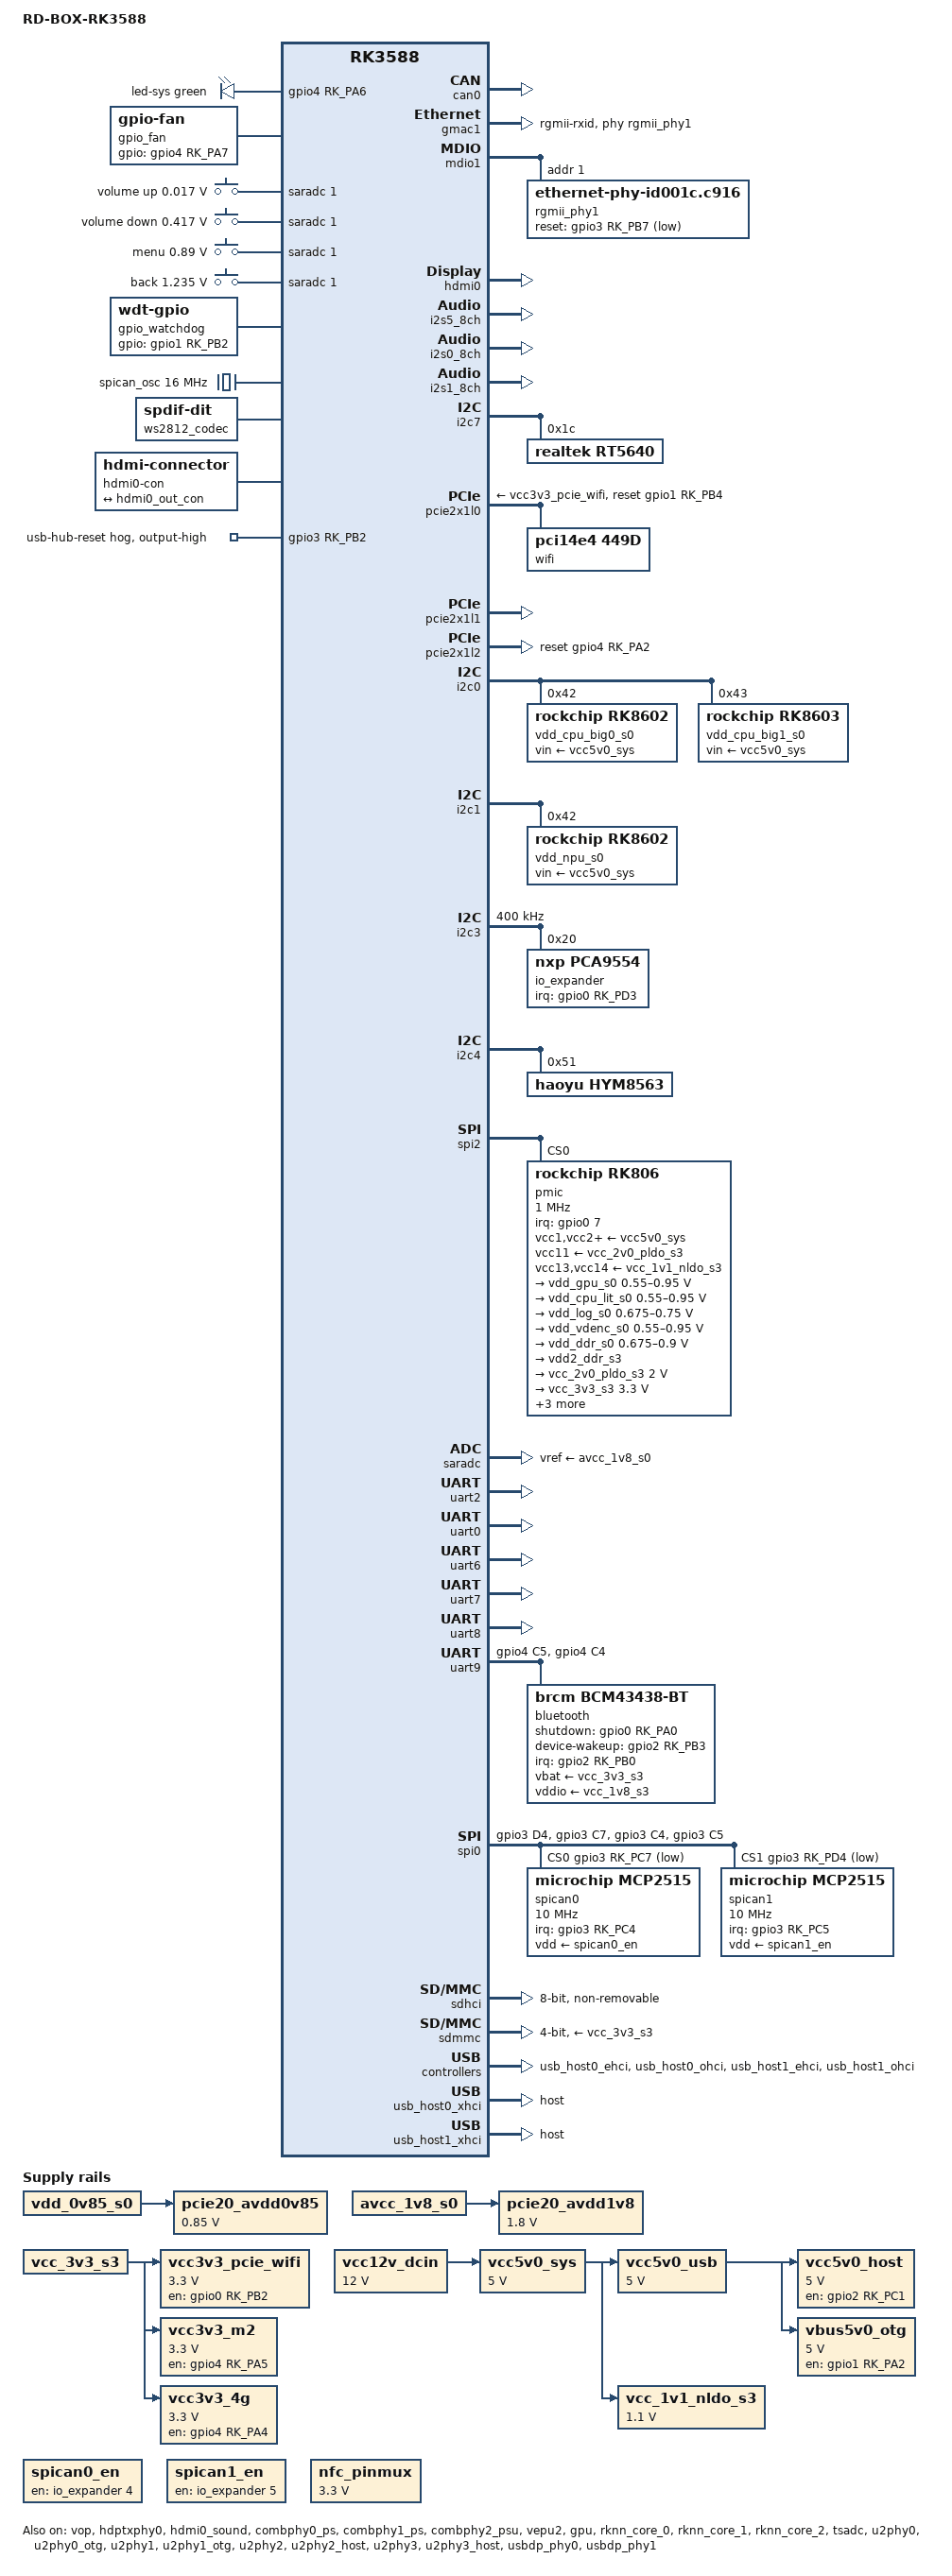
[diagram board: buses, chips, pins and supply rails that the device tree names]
// SPDX-License-Identifier: (GPL-2.0+ OR MIT)
/*
 * Copyright (c) 2024 Synkar
 *
 * RD-BOX-RK3588 board DTS (mainline bindings).
 *
 * Ported from the vendor SDK DTS (kernel 6.1 fork) to mainline bindings.
 * References: rk3588-rock-5b.dtsi (same rk3588 SoC + rk806 PMIC on spi2),
 *   rp-rk3588-board.dtsi + rd-box-rk3588.dts from the SDK.
 *
 * Vendor -> mainline mapping:
 *   rp_power.led/usb/otg/hub/4g  -> gpio-leds / fixed-regulator / gpio-hog
 *   fan_gpio_control             -> gpio-fan
 *   stm706 (watchdog)            -> linux,wdt-gpio
 *   rp-keys                      -> adc-keys
 *   wireless-wlan/bt (platdata)  -> PCIe enumeration (brcmfmac) / brcm bluetooth
 *
 * TODO phase 4 (hardware validation):
 *   - power/reset GPIO polarities (usb-host, otg, hub, 4g)
 *   - BT bring-up: hci_bcm probe + BCM4362A2.hcd firmware load + HCI up
 *     (binding fixed: compatible brcm,bcm43438-bt + hym8563 lpo clock +
 *      CONFIG_BT_HCIUART_BCM; still needs HW validation)
 *   - real WAN bring-up of synkar-netrole (DHCP uplink + masquerade)
 *   - HDMI audio (hdmi0_sound: deferred probe of asoc-simple-card)
 *
 * Done: CAN0 (rockchip_canfd bind + can0 UP at 500 kbps; see the can0 node).
 */

/dts-v1/;

#include <dt-bindings/gpio/gpio.h>
#include <dt-bindings/input/input.h>
#include <dt-bindings/leds/common.h>
#include <dt-bindings/pinctrl/rockchip.h>
#include <dt-bindings/soc/rockchip,vop2.h>

#include "rk3588.dtsi"

/ {
	model = "RD-BOX-RK3588";
	compatible = "rd-box,rk3588", "rockchip,rk3588";

	aliases {
		mmc0 = &sdhci;
		mmc1 = &sdmmc;
	};

	npu_opp_table: opp-table-npu {
		compatible = "operating-points-v2";

		opp-300000000 {
			opp-hz = /bits/ 64 <300000000>;
			opp-microvolt = <700000>;
		};
		opp-400000000 {
			opp-hz = /bits/ 64 <400000000>;
			opp-microvolt = <700000>;
		};
		opp-500000000 {
			opp-hz = /bits/ 64 <500000000>;
			opp-microvolt = <700000>;
		};
		opp-600000000 {
			opp-hz = /bits/ 64 <600000000>;
			opp-microvolt = <700000>;
		};
		opp-700000000 {
			opp-hz = /bits/ 64 <700000000>;
			opp-microvolt = <700000>;
		};
		opp-800000000 {
			opp-hz = /bits/ 64 <800000000>;
			opp-microvolt = <750000>;
		};
		opp-900000000 {
			opp-hz = /bits/ 64 <900000000>;
			opp-microvolt = <800000>;
		};
		opp-1000000000 {
			opp-hz = /bits/ 64 <1000000000>;
			opp-microvolt = <850000>;
		};
	};

	vcc12v_dcin: regulator-vcc12v-dcin {
		compatible = "regulator-fixed";
		regulator-name = "vcc12v_dcin";
		regulator-always-on;
		regulator-boot-on;
		regulator-min-microvolt = <12000000>;
		regulator-max-microvolt = <12000000>;
	};

	vcc5v0_sys: regulator-vcc5v0-sys {
		compatible = "regulator-fixed";
		regulator-name = "vcc5v0_sys";
		regulator-always-on;
		regulator-boot-on;
		regulator-min-microvolt = <5000000>;
		regulator-max-microvolt = <5000000>;
		vin-supply = <&vcc12v_dcin>;
	};

	vcc5v0_usb: regulator-vcc5v0-usb {
		compatible = "regulator-fixed";
		regulator-name = "vcc5v0_usb";
		regulator-always-on;
		regulator-boot-on;
		regulator-min-microvolt = <5000000>;
		regulator-max-microvolt = <5000000>;
		vin-supply = <&vcc5v0_sys>;
	};

	vcc_1v1_nldo_s3: regulator-vcc-1v1-nldo-s3 {
		compatible = "regulator-fixed";
		regulator-name = "vcc_1v1_nldo_s3";
		regulator-always-on;
		regulator-boot-on;
		regulator-min-microvolt = <1100000>;
		regulator-max-microvolt = <1100000>;
		vin-supply = <&vcc5v0_sys>;
	};

	/* rp_power.led -> gpio4 PA6 (vendor function=3 FLASH/heartbeat) */
	leds {
		compatible = "gpio-leds";
		pinctrl-names = "default";
		pinctrl-0 = <&led_sys>;

		led-sys {
			function = LED_FUNCTION_HEARTBEAT;
			color = <LED_COLOR_ID_GREEN>;
			gpios = <&gpio4 RK_PA6 GPIO_ACTIVE_HIGH>;
			linux,default-trigger = "heartbeat";
		};
	};

	/* fan_gpio_control -> gpio4 PA7, threshold 60C (vendor) */
	gpio_fan: gpio-fan {
		compatible = "gpio-fan";
		gpios = <&gpio4 RK_PA7 GPIO_ACTIVE_HIGH>;
		gpio-fan,speed-map = <0 0 3000 1>;
		pinctrl-names = "default";
		pinctrl-0 = <&fan_en>;
		#cooling-cells = <2>;
	};

	/* rp-key.dtsi -> adc-keys (saradc channel 1) */
	adc_keys: adc-keys {
		compatible = "adc-keys";
		io-channels = <&saradc 1>;
		io-channel-names = "buttons";
		keyup-threshold-microvolt = <1800000>;
		poll-interval = <100>;

		button-vol-up {
			label = "volume up";
			linux,code = <KEY_VOLUMEUP>;
			press-threshold-microvolt = <17000>;
		};

		button-vol-down {
			label = "volume down";
			linux,code = <KEY_VOLUMEDOWN>;
			press-threshold-microvolt = <417000>;
		};

		button-menu {
			label = "menu";
			linux,code = <KEY_MENU>;
			press-threshold-microvolt = <890000>;
		};

		button-back {
			label = "back";
			linux,code = <KEY_BACK>;
			press-threshold-microvolt = <1235000>;
		};
	};

	/* stm706 -> external GPIO watchdog. wdt_gpio = gpio1 PB2 (feed/keepalive).
	 * reset_gpio = gpio1 PB1 is the IC's hardwired reset output (not driven). */
	gpio_watchdog: watchdog {
		compatible = "linux,wdt-gpio";
		gpios = <&gpio1 RK_PB2 GPIO_ACTIVE_HIGH>;
		hw_algo = "toggle";
		hw_margin_ms = <1500>;
		always-running;
		pinctrl-names = "default";
		pinctrl-0 = <&wdt_feed>;
	};

	/* rp-eth-pcie2gmac: pcie2x1l2 -> NIC Realtek (r8169), power rails */
	pcie20_avdd0v85: regulator-pcie20-avdd0v85 {
		compatible = "regulator-fixed";
		regulator-name = "pcie20_avdd0v85";
		regulator-boot-on;
		regulator-always-on;
		regulator-min-microvolt = <850000>;
		regulator-max-microvolt = <850000>;
		vin-supply = <&vdd_0v85_s0>;
	};

	pcie20_avdd1v8: regulator-pcie20-avdd1v8 {
		compatible = "regulator-fixed";
		regulator-name = "pcie20_avdd1v8";
		regulator-boot-on;
		regulator-always-on;
		regulator-min-microvolt = <1800000>;
		regulator-max-microvolt = <1800000>;
		vin-supply = <&avcc_1v8_s0>;
	};

	/* rp-wifi-bt-pcie-ap6275p: WiFi module vcc3v3, enable gpio0 PB2 */
	vcc3v3_pcie_wifi: regulator-vcc3v3-pcie-wifi {
		compatible = "regulator-fixed";
		regulator-name = "vcc3v3_pcie_wifi";
		regulator-min-microvolt = <3300000>;
		regulator-max-microvolt = <3300000>;
		enable-active-high;
		gpio = <&gpio0 RK_PB2 GPIO_ACTIVE_HIGH>;
		pinctrl-names = "default";
		pinctrl-0 = <&wifi_poweren>;
		startup-delay-us = <5000>;
		vin-supply = <&vcc_3v3_s3>;
	};

	/* rp-pcie2x1l1-m2: M.2 slot vcc3v3, enable gpio4 PA5 (RD_BOX_RK3588) */
	vcc3v3_m2: regulator-vcc3v3-m2 {
		compatible = "regulator-fixed";
		regulator-name = "vcc3v3_m2";
		regulator-always-on;
		regulator-boot-on;
		regulator-min-microvolt = <3300000>;
		regulator-max-microvolt = <3300000>;
		enable-active-high;
		gpio = <&gpio4 RK_PA5 GPIO_ACTIVE_HIGH>;
		pinctrl-names = "default";
		pinctrl-0 = <&m2_poweren>;
		startup-delay-us = <5000>;
		vin-supply = <&vcc_3v3_s3>;
	};

	/* rp_power: usb-host-power gpio2 PC1 */
	vcc5v0_host: regulator-vcc5v0-host {
		compatible = "regulator-fixed";
		regulator-name = "vcc5v0_host";
		regulator-min-microvolt = <5000000>;
		regulator-max-microvolt = <5000000>;
		enable-active-high;
		gpio = <&gpio2 RK_PC1 GPIO_ACTIVE_HIGH>;
		pinctrl-names = "default";
		pinctrl-0 = <&host5v_en>;
		vin-supply = <&vcc5v0_usb>;
	};

	/* rp_power: otg-power gpio1 PA2. always-on: no node consumes VBUS;
	 * without it the regulator stays disabled (dead port). */
	vbus5v0_otg: regulator-vbus5v0-otg {
		compatible = "regulator-fixed";
		regulator-name = "vbus5v0_otg";
		regulator-always-on;
		regulator-boot-on;
		regulator-min-microvolt = <5000000>;
		regulator-max-microvolt = <5000000>;
		enable-active-high;
		gpio = <&gpio1 RK_PA2 GPIO_ACTIVE_HIGH>;
		pinctrl-names = "default";
		pinctrl-0 = <&otg5v_en>;
		vin-supply = <&vcc5v0_usb>;
	};

	/* rp_power: pwr-4g gpio4 PA4 */
	vcc3v3_4g: regulator-vcc3v3-4g {
		compatible = "regulator-fixed";
		regulator-name = "vcc3v3_4g";
		regulator-always-on;
		regulator-boot-on;
		regulator-min-microvolt = <3300000>;
		regulator-max-microvolt = <3300000>;
		enable-active-high;
		gpio = <&gpio4 RK_PA4 GPIO_ACTIVE_HIGH>;
		pinctrl-names = "default";
		pinctrl-0 = <&modem4g_en>;
		startup-delay-us = <10000>;
		vin-supply = <&vcc_3v3_s3>;
	};

	/*
	 * CAN0/CAN1: the rk3588 CAN IP matches rk3568v2. The can0/can1 nodes
	 * do NOT exist in mainline rk3588-base.dtsi (only the can0m0/can1m0
	 * pinctrl exists in rk3588-base-pinctrl.dtsi), so the full nodes are
	 * defined here. Driver: rockchip_canfd (CONFIG_CAN_ROCKCHIP_CANFD) ->
	 * compatible "rockchip,rk3568v2-canfd" (mainline has no rk3588
	 * compatible; the vendor used out-of-tree "rockchip,can-2.0" on BSP 6.1).
	 *
	 * interrupts: mainline rk3588 GICv3 is 4-cell (#interrupt-cells = <4>
	 * in rk3588-base.dtsi), inherited from the root. The 4th cell is the
	 * partition/PPI mask (0 for SPI). Do not use the vendor 3-cell GIC
	 * form, or the DT parser fails and platform_get_irq() returns -ENXIO
	 * ("IRQ index 0 not found") — historical CAN0 bring-up bug.
	 *
	 * CAN1 stays DISABLED: can1m0 (gpio3 RK_PB5 = can1_rx_m0) is the SAME
	 * pin as gmac1_txen (eth0 RGMII), required for the primary Ethernet.
	 * The vendor does not enable can1 on this board either. A second CAN
	 * on the hardware would need the can1m1 mux plus a schematic check.
	 */
	can0: can@fea50000 {
		compatible = "rockchip,rk3568v2-canfd";
		reg = <0x0 0xfea50000 0x0 0x1000>;
		interrupts = <GIC_SPI 341 IRQ_TYPE_LEVEL_HIGH 0>;
		clocks = <&cru CLK_CAN0>, <&cru PCLK_CAN0>;
		clock-names = "baudclk", "apb_pclk";
		resets = <&cru SRST_CAN0>, <&cru SRST_P_CAN0>;
		reset-names = "can", "can-apb";
		assigned-clocks = <&cru CLK_CAN0>;
		assigned-clock-rates = <300000000>;
		pinctrl-names = "default";
		pinctrl-0 = <&can0m0_pins>;
		status = "okay";
	};

	can1: can@fea60000 {
		compatible = "rockchip,rk3568v2-canfd";
		reg = <0x0 0xfea60000 0x0 0x1000>;
		interrupts = <GIC_SPI 342 IRQ_TYPE_LEVEL_HIGH 0>;
		clocks = <&cru CLK_CAN1>, <&cru PCLK_CAN1>;
		clock-names = "baudclk", "apb_pclk";
		resets = <&cru SRST_CAN1>, <&cru SRST_P_CAN1>;
		reset-names = "can", "can-apb";
		assigned-clocks = <&cru CLK_CAN1>;
		assigned-clock-rates = <200000000>;
		pinctrl-names = "default";
		pinctrl-0 = <&can1m0_pins>;
		/* can1m0 conflicts with gmac1_txen (gpio3 RK_PB5); see the comment above. */
		status = "disabled";
	};

	/* One 16 MHz crystal per MCP2515. Both nodes use this rate for bit timing. */
	spican_osc: spican_osc {
		compatible = "fixed-clock";
		#clock-cells = <0>;
		clock-frequency = <16000000>;
	};

	/* CAN1_SPI_RESET and CAN2_SPI_RESET are the MCP2515 nRESET pins
	 * (active low): expander IO4/IO5 here, each on its own module.
	 * regulator-fixed asserts its GPIO on enable, so enable = pin high
	 * = reset released requires GPIO_ACTIVE_HIGH + enable-active-high.
	 * With the previous ACTIVE_LOW polarity, enabling vdd drove nRESET
	 * low and held the chip in reset during probe ("didn't enter in
	 * conf mode"). At registration the pin drives low, keeping both
	 * chips in reset until mcp251x probes. startup-delay-us covers
	 * oscillator start after the reset release. */
	spican0_en: regulator-spican0-en {
		compatible = "regulator-fixed";
		regulator-name = "spican0-enable";
		gpio = <&io_expander 4 GPIO_ACTIVE_HIGH>;
		enable-active-high;
		startup-delay-us = <100000>;
	};

	spican1_en: regulator-spican1-en {
		compatible = "regulator-fixed";
		regulator-name = "spican1-enable";
		gpio = <&io_expander 5 GPIO_ACTIVE_HIGH>;
		enable-active-high;
		startup-delay-us = <100000>;
	};

};

&cpu_b0 {
	cpu-supply = <&vdd_cpu_big0_s0>;
};

&cpu_b1 {
	cpu-supply = <&vdd_cpu_big0_s0>;
};

&cpu_b2 {
	cpu-supply = <&vdd_cpu_big1_s0>;
};

&cpu_b3 {
	cpu-supply = <&vdd_cpu_big1_s0>;
};

&cpu_l0 {
	cpu-supply = <&vdd_cpu_lit_s0>;
};

&cpu_l1 {
	cpu-supply = <&vdd_cpu_lit_s0>;
};

&cpu_l2 {
	cpu-supply = <&vdd_cpu_lit_s0>;
};

&cpu_l3 {
	cpu-supply = <&vdd_cpu_lit_s0>;
};

/* Primary Ethernet: gmac1 RGMII (rp-eth-gmac1.dtsi). Timing kept from the vendor
 * (rgmii-rxid, clock input, tx_delay). Reset moved to the phy node (mainline).
 *
 * The eth1_pins group (eth1_refclko_25m, gpio3 PA6) is required: it routes the
 * 25 MHz clock generated by the CRU (REFCLKO25M_ETH1_OUT) to the RTL8211F PHY
 * XTAL pin. Without it the PHY has no clock and does not answer on MDIO,
 * producing "cannot attach to PHY (-ENODEV)". The vendor names this group
 * "eth1_pins". */
&gmac1 {
	phy-mode = "rgmii-rxid";
	clock_in_out = "input";
	tx_delay = <0x44>;

	pinctrl-names = "default";
	pinctrl-0 = <&gmac1_miim
		     &gmac1_tx_bus2
		     &gmac1_rx_bus2
		     &gmac1_rgmii_clk
		     &gmac1_rgmii_bus
		     &gmac1_clkinout
		     &eth1_pins>;

	phy-handle = <&rgmii_phy1>;
	status = "okay";
};

&mdio1 {
	/* RTL8211F (vendor: reset gpio3 PB7, 20 ms assert / 100 ms deassert).
	 * The PHY 25 MHz refclk comes from the CRU (REFCLKO25M_ETH1_OUT), routed
	 * to the PHY XTAL pin by eth1_pins/eth1_refclko_25m (gpio3 PA6) on &gmac1.
	 *
	 * compatible "ethernet-phy-id001c.c916" (RTL8211F PHY ID) makes phylib
	 * create the device WITHOUT a premature MDIO read. With the generic
	 * "ethernet-phy-ieee802.3-c22", phylib tries to read the ID BEFORE applying
	 * reset-gpios; the PHY is still in reset, the read fails (-ENODEV), and the
	 * device is never created (reset-gpios stays "UNCLAIMED"). Same pattern as
	 * rk3588-evb1-v10.dts for this RTL8211F. */
	rgmii_phy1: ethernet-phy@1 {
		compatible = "ethernet-phy-id001c.c916";
		reg = <0x1>;
		clocks = <&cru REFCLKO25M_ETH1_OUT>;
		reset-gpios = <&gpio3 RK_PB7 GPIO_ACTIVE_LOW>;
		reset-assert-us = <20000>;
		reset-deassert-us = <100000>;
	};
};

/* ===== HDMI0 (display + audio) ============================================
 * Ported from rk3588-evb1-v10.dts (mainline bindings). Differences vs the
 * vendor SDK: the PHY label is &hdptxphy0 (not &hdptxphy_hdmi0) and
 * &route_hdmi0 (vendor-specific) was dropped — mainline describes the pipeline
 * via the OF graph. dw-hdmi-qp takes the PHY by phandle (phys = <&hdptxphy0>)
 * in the base dtsi.
 */
&vop {
	status = "okay";
};

&vop_mmu {
	status = "okay";
};

&hdmi0 {
	status = "okay";
};

&hdmi0_in {
	hdmi0_in_vp0: endpoint {
		remote-endpoint = <&vp0_out_hdmi0>;
	};
};

&hdmi0_out {
	hdmi0_out_con: endpoint {
		remote-endpoint = <&hdmi0_con_in>;
	};
};

&vp0 {
	vp0_out_hdmi0: endpoint@ROCKCHIP_VOP2_EP_HDMI0 {
		reg = <ROCKCHIP_VOP2_EP_HDMI0>;
		remote-endpoint = <&hdmi0_in_vp0>;
	};
};

&hdptxphy0 {
	status = "okay";
};

/* HDMI audio: simple-audio-card (cpu = i2s5_8ch -> codec = hdmi0).
 * The hdmi0_sound node is already wired in rk3588-base.dtsi; only enable it. */
&i2s5_8ch {
	status = "okay";
};

&hdmi0_sound {
	status = "okay";
};

&i2s0_8ch {
	pinctrl-0 = <&i2s0_lrck
		     &i2s0_mclk
		     &i2s0_sclk
		     &i2s0_sdi0
		     &i2s0_sdo0>;
	status = "okay";
};

/* WS2812 on GPIO4_B3 (VCCIO6 3V3), using function I2S1_SDO2_M0 as per the RD-BOX PDF.
 * The default pinctrl for i2s1_8ch also includes PA2, PA5, PA6, PA7, and PB2
 * (PCIe reset, M.2 enable, LED, fan, and NFC RX), but only SDO2 is used here.
 * The stereo pair (data0) is routed to SDO2. Without trcm-sync-tx-only, 
 * starting does not reset the block, so the route remains. The spdif-dit codec
 * is virtual: it just creates the PCM hw:ws2812 for the I2S master. */
&i2s1_8ch {
	/delete-property/ rockchip,trcm-sync-tx-only;
	pinctrl-names = "default";
	pinctrl-0 = <&i2s1m0_sdo2>;
	assigned-clocks = <&cru CLK_I2S1_8CH_TX_SRC>;
	assigned-clock-parents = <&cru PLL_AUPLL>;
	rockchip,i2s-tx-route = <1 2 0 3>;
	status = "okay";
};

/ {
	ws2812_codec: ws2812-codec {
		compatible = "linux,spdif-dit";
		#sound-dai-cells = <0>;
	};

	ws2812-sound {
		compatible = "simple-audio-card";
		simple-audio-card,name = "ws2812";
		simple-audio-card,format = "i2s";
		simple-audio-card,mclk-fs = <256>;
		simple-audio-card,bitclock-master = <&ws2812_cpu>;
		simple-audio-card,frame-master = <&ws2812_cpu>;

		ws2812_cpu: simple-audio-card,cpu {
			sound-dai = <&i2s1_8ch>;
		};

		simple-audio-card,codec {
			sound-dai = <&ws2812_codec>;
		};
	};
};

&i2c7 {
	pinctrl-names = "default";
	pinctrl-0 = <&i2c7m0_xfer>;
	status = "okay";

	rt5640: audio-codec@1c {
		compatible = "realtek,rt5640";
		reg = <0x1c>;
		clocks = <&cru I2S0_8CH_MCLKOUT>;
		clock-names = "mclk";
		assigned-clocks = <&cru I2S0_8CH_MCLKOUT>;
		assigned-clock-rates = <12288000>;
		realtek,in1-differential;
		#sound-dai-cells = <0>;
	};
};

/ {
	hdmi0-con {
		compatible = "hdmi-connector";
		type = "a";	/* Type A: full-size HDMI */
		port {
			hdmi0_con_in: endpoint {
				remote-endpoint = <&hdmi0_out_con>;
			};
		};
	};

	rt5640-sound {
		compatible = "simple-audio-card";
		simple-audio-card,name = "RK3588 RD-BOX Headset";
		simple-audio-card,format = "i2s";
		simple-audio-card,mclk-fs = <256>;
		simple-audio-card,widgets =
			"Microphone", "Mic Jack",
			"Headphone", "Headphone Jack";
		simple-audio-card,routing =
			"Mic Jack", "MICBIAS1",
			"IN1P", "Mic Jack",
			"Headphone Jack", "HPOL",
			"Headphone Jack", "HPOR";

		simple-audio-card,cpu {
			sound-dai = <&i2s0_8ch>;
		};

		simple-audio-card,codec {
			sound-dai = <&rt5640>;
			system-clock-frequency = <12288000>;
		};
	};
};

/* Combophy for the 3 PCIe slots */
&combphy0_ps {
	status = "okay";
};

&combphy1_ps {
	status = "okay";
};

&combphy2_psu {
	status = "okay";
};

&av1d { status = "disabled"; };
&vpu121 { status = "disabled"; };
&vepu2 { status = "okay"; };

&gpu {
	mali-supply = <&vdd_gpu_s0>;
	status = "okay";
};

&rknn_core_0 {
	npu-supply = <&vdd_npu_s0>;
	sram-supply = <&vdd_npu_s0>;
	operating-points-v2 = <&npu_opp_table>;
	status = "okay";
};

&rknn_core_1 {
	npu-supply = <&vdd_npu_s0>;
	sram-supply = <&vdd_npu_s0>;
	operating-points-v2 = <&npu_opp_table>;
	status = "okay";
};

&rknn_core_2 {
	npu-supply = <&vdd_npu_s0>;
	sram-supply = <&vdd_npu_s0>;
	operating-points-v2 = <&npu_opp_table>;
	status = "okay";
};

&rknn_mmu_0 { status = "okay"; };
&rknn_mmu_1 { status = "okay"; };
&rknn_mmu_2 { status = "okay"; };


/* pcie2x1l0: WiFi ap6275p (rp-wifi-bt-pcie-ap6275p)
 * The BCM43752 (AP6275P) needs the 32.768 kHz LPO clock for the firmware to
 * start (without it the ARM is released but the firmware never writes the
 * shared-RAM sentinel -> "FW failed to initialize"). Mainline brcmfmac gets
 * that clock from DT, on the PCI device node, by the name "lpo"
 * (brcmf_of_probe -> devm_clk_get...("lpo")).
 * Same binding as armsom-sige7 (AP6275P + RK3588 + hym8563, working WiFi).
 * Observed BDF: root port 0002:20:00.0 (bus 0x20), wifi 0002:21:00.0 (bus 0x21).
 */
&pcie2x1l0 {
	reset-gpios = <&gpio1 RK_PB4 GPIO_ACTIVE_HIGH>;
	vpcie3v3-supply = <&vcc3v3_pcie_wifi>;
	status = "okay";

	pcie@0,0 {
		reg = <0x200000 0 0 0 0>;
		#address-cells = <3>;
		#size-cells = <2>;
		ranges;
		device_type = "pci";
		bus-range = <0x20 0x2f>;

		wifi: wifi@0,0 {
			compatible = "pci14e4,449d";
			reg = <0x210000 0 0 0 0>;
			clocks = <&hym8563>;
			clock-names = "lpo";
		};
	};
};

/* pcie2x1l1: slot M.2 (rp-pcie2x1l1-m2) */
&pcie2x1l1 {
	status = "okay";
};

/* pcie2x1l2: NIC Realtek 2.5G (rp-eth-pcie2gmac) -> driver r8169 */
&pcie2x1l2 {
	reset-gpios = <&gpio4 RK_PA2 GPIO_ACTIVE_HIGH>;
	status = "okay";
};

&i2c0 {
	pinctrl-names = "default";
	pinctrl-0 = <&i2c0m2_xfer>;
	status = "okay";

	vdd_cpu_big0_s0: regulator@42 {
		compatible = "rockchip,rk8602";
		reg = <0x42>;
		fcs,suspend-voltage-selector = <1>;
		regulator-name = "vdd_cpu_big0_s0";
		regulator-always-on;
		regulator-boot-on;
		regulator-min-microvolt = <550000>;
		regulator-max-microvolt = <1050000>;
		regulator-ramp-delay = <2300>;
		vin-supply = <&vcc5v0_sys>;

		regulator-state-mem {
			regulator-off-in-suspend;
		};
	};

	vdd_cpu_big1_s0: regulator@43 {
		compatible = "rockchip,rk8603", "rockchip,rk8602";
		reg = <0x43>;
		fcs,suspend-voltage-selector = <1>;
		regulator-name = "vdd_cpu_big1_s0";
		regulator-always-on;
		regulator-boot-on;
		regulator-min-microvolt = <550000>;
		regulator-max-microvolt = <1050000>;
		regulator-ramp-delay = <2300>;
		vin-supply = <&vcc5v0_sys>;

		regulator-state-mem {
			regulator-off-in-suspend;
		};
	};
};

&i2c1 {
	pinctrl-names = "default";
	pinctrl-0 = <&i2c1m2_xfer>;
	status = "okay";

	vdd_npu_s0: regulator@42 {
		compatible = "rockchip,rk8602";
		reg = <0x42>;
		fcs,suspend-voltage-selector = <1>;
		regulator-name = "vdd_npu_s0";
		regulator-boot-on;
		regulator-min-microvolt = <550000>;
		regulator-max-microvolt = <950000>;
		regulator-ramp-delay = <2300>;
		vin-supply = <&vcc5v0_sys>;

		regulator-state-mem {
			regulator-off-in-suspend;
		};
	};
};

/* i2c3, 400 kHz. Two devices share the bus:
 *   PCA9554 at 0x20 (A2:A0 tied low). INT is GPIO0_D3, open-drain,
 *   level-low. IO0..IO7 are push-pull outputs.
 *   BNO080 in userspace at the secondary address 0x4B. It cannot share
 *   0x20. I2C_IMU_nRESET (IO3) stays free: bno080 drives it, including
 *   holding the part in reset while the node is disabled.
 * CAN1_SPI_RESET and CAN2_SPI_RESET are the active-low RESET# lines of
 * spican0 and spican1.
 * ToF, lidar, IMU-CAN, LED and NFC power are not referenced by a
 * device-tree node, so those lines stay free for userspace. */
&i2c3 {
	pinctrl-names = "default";
	pinctrl-0 = <&i2c3m0_xfer>;
	clock-frequency = <400000>;
	status = "okay";

	io_expander: gpio@20 {
		compatible = "nxp,pca9554";
		reg = <0x20>;
		gpio-controller;
		#gpio-cells = <2>;
		interrupt-parent = <&gpio0>;
		interrupts = <RK_PD3 IRQ_TYPE_LEVEL_LOW>;
		interrupt-controller;
		#interrupt-cells = <2>;
		pinctrl-names = "default";
		pinctrl-0 = <&io_exp_int>;
		/* IO4/IO5 belong to spican0/spican1. Every other line is free
		 * for userspace, including I2C_IMU_nRESET. */
		gpio-line-names = "ToF_PWR-On-Off",
				  "LIDAR_PWR-On-Off",
				  "IMU_CAN_PWR-On-Off",
				  "I2C_IMU_nRESET",
				  "CAN1_SPI_RESET",
				  "CAN2_SPI_RESET",
				  "LED_PWR-On-Off",
				  "NFC_PWR-On-Off";
	};
};

/* hym8563 RTC on i2c4 (rd-box-rk3588.dts) */
&i2c4 {
	pinctrl-names = "default";
	pinctrl-0 = <&i2c4m1_xfer>;
	status = "okay";

	hym8563: rtc@51 {
		compatible = "haoyu,hym8563";
		reg = <0x51>;
		#clock-cells = <0>;
		clock-output-names = "hym8563";
	};
};

/* rk806 PMIC on spi2 (same topology as rk3588-rock-5b) */
&spi2 {
	pinctrl-names = "default";
	pinctrl-0 = <&spi2m2_cs0 &spi2m2_pins>;
	status = "okay";

	pmic@0 {
		compatible = "rockchip,rk806";
		spi-max-frequency = <1000000>;
		reg = <0x0>;

		interrupt-parent = <&gpio0>;
		interrupts = <7 IRQ_TYPE_LEVEL_LOW>;

		pinctrl-names = "default";
		pinctrl-0 = <&pmic_pins>, <&rk806_dvs1_null>,
			    <&rk806_dvs2_null>, <&rk806_dvs3_null>;

		system-power-controller;

		vcc1-supply = <&vcc5v0_sys>;
		vcc2-supply = <&vcc5v0_sys>;
		vcc3-supply = <&vcc5v0_sys>;
		vcc4-supply = <&vcc5v0_sys>;
		vcc5-supply = <&vcc5v0_sys>;
		vcc6-supply = <&vcc5v0_sys>;
		vcc7-supply = <&vcc5v0_sys>;
		vcc8-supply = <&vcc5v0_sys>;
		vcc9-supply = <&vcc5v0_sys>;
		vcc10-supply = <&vcc5v0_sys>;
		vcc11-supply = <&vcc_2v0_pldo_s3>;
		vcc12-supply = <&vcc5v0_sys>;
		vcc13-supply = <&vcc_1v1_nldo_s3>;
		vcc14-supply = <&vcc_1v1_nldo_s3>;
		vcca-supply = <&vcc5v0_sys>;

		gpio-controller;
		#gpio-cells = <2>;

		rk806_dvs1_null: dvs1-null-pins {
			pins = "gpio_pwrctrl1";
			function = "pin_fun0";
		};

		rk806_dvs2_null: dvs2-null-pins {
			pins = "gpio_pwrctrl2";
			function = "pin_fun0";
		};

		rk806_dvs3_null: dvs3-null-pins {
			pins = "gpio_pwrctrl3";
			function = "pin_fun0";
		};

		regulators {
			vdd_gpu_s0: dcdc-reg1 {
				regulator-boot-on;
				regulator-min-microvolt = <550000>;
				regulator-max-microvolt = <950000>;
				regulator-ramp-delay = <12500>;
				regulator-name = "vdd_gpu_s0";
				regulator-enable-ramp-delay = <400>;

				regulator-state-mem {
					regulator-off-in-suspend;
				};
			};

			vdd_cpu_lit_s0: dcdc-reg2 {
				regulator-always-on;
				regulator-boot-on;
				regulator-min-microvolt = <550000>;
				regulator-max-microvolt = <950000>;
				regulator-ramp-delay = <12500>;
				regulator-name = "vdd_cpu_lit_s0";

				regulator-state-mem {
					regulator-off-in-suspend;
				};
			};

			vdd_log_s0: dcdc-reg3 {
				regulator-always-on;
				regulator-boot-on;
				regulator-min-microvolt = <675000>;
				regulator-max-microvolt = <750000>;
				regulator-ramp-delay = <12500>;
				regulator-name = "vdd_log_s0";

				regulator-state-mem {
					regulator-off-in-suspend;
					regulator-suspend-microvolt = <750000>;
				};
			};

			vdd_vdenc_s0: dcdc-reg4 {
				regulator-always-on;
				regulator-boot-on;
				regulator-min-microvolt = <550000>;
				regulator-max-microvolt = <950000>;
				regulator-ramp-delay = <12500>;
				regulator-name = "vdd_vdenc_s0";

				regulator-state-mem {
					regulator-off-in-suspend;
				};
			};

			vdd_ddr_s0: dcdc-reg5 {
				regulator-always-on;
				regulator-boot-on;
				regulator-min-microvolt = <675000>;
				regulator-max-microvolt = <900000>;
				regulator-ramp-delay = <12500>;
				regulator-name = "vdd_ddr_s0";

				regulator-state-mem {
					regulator-off-in-suspend;
					regulator-suspend-microvolt = <850000>;
				};
			};

			vdd2_ddr_s3: dcdc-reg6 {
				regulator-always-on;
				regulator-boot-on;
				regulator-name = "vdd2_ddr_s3";

				regulator-state-mem {
					regulator-on-in-suspend;
				};
			};

			vcc_2v0_pldo_s3: dcdc-reg7 {
				regulator-always-on;
				regulator-boot-on;
				regulator-min-microvolt = <2000000>;
				regulator-max-microvolt = <2000000>;
				regulator-ramp-delay = <12500>;
				regulator-name = "vdd_2v0_pldo_s3";

				regulator-state-mem {
					regulator-on-in-suspend;
					regulator-suspend-microvolt = <2000000>;
				};
			};

			vcc_3v3_s3: dcdc-reg8 {
				regulator-always-on;
				regulator-boot-on;
				regulator-min-microvolt = <3300000>;
				regulator-max-microvolt = <3300000>;
				regulator-name = "vcc_3v3_s3";

				regulator-state-mem {
					regulator-on-in-suspend;
					regulator-suspend-microvolt = <3300000>;
				};
			};

			vddq_ddr_s0: dcdc-reg9 {
				regulator-always-on;
				regulator-boot-on;
				regulator-name = "vddq_ddr_s0";

				regulator-state-mem {
					regulator-off-in-suspend;
				};
			};

			vcc_1v8_s3: dcdc-reg10 {
				regulator-always-on;
				regulator-boot-on;
				regulator-min-microvolt = <1800000>;
				regulator-max-microvolt = <1800000>;
				regulator-name = "vcc_1v8_s3";

				regulator-state-mem {
					regulator-on-in-suspend;
					regulator-suspend-microvolt = <1800000>;
				};
			};

			avcc_1v8_s0: pldo-reg1 {
				regulator-always-on;
				regulator-boot-on;
				regulator-min-microvolt = <1800000>;
				regulator-max-microvolt = <1800000>;
				regulator-name = "avcc_1v8_s0";

				regulator-state-mem {
					regulator-off-in-suspend;
				};
			};

			vcc_1v8_s0: pldo-reg2 {
				regulator-always-on;
				regulator-boot-on;
				regulator-min-microvolt = <1800000>;
				regulator-max-microvolt = <1800000>;
				regulator-name = "vcc_1v8_s0";

				regulator-state-mem {
					regulator-off-in-suspend;
					regulator-suspend-microvolt = <1800000>;
				};
			};

			avdd_1v2_s0: pldo-reg3 {
				regulator-always-on;
				regulator-boot-on;
				regulator-min-microvolt = <1200000>;
				regulator-max-microvolt = <1200000>;
				regulator-name = "avdd_1v2_s0";

				regulator-state-mem {
					regulator-off-in-suspend;
				};
			};

			vcc_3v3_s0: pldo-reg4 {
				regulator-always-on;
				regulator-boot-on;
				regulator-min-microvolt = <3300000>;
				regulator-max-microvolt = <3300000>;
				regulator-ramp-delay = <12500>;
				regulator-name = "vcc_3v3_s0";

				regulator-state-mem {
					regulator-off-in-suspend;
				};
			};

			vccio_sd_s0: pldo-reg5 {
				regulator-always-on;
				regulator-boot-on;
				regulator-min-microvolt = <1800000>;
				regulator-max-microvolt = <3300000>;
				regulator-ramp-delay = <12500>;
				regulator-name = "vccio_sd_s0";

				regulator-state-mem {
					regulator-off-in-suspend;
				};
			};

			pldo6_s3: pldo-reg6 {
				regulator-always-on;
				regulator-boot-on;
				regulator-min-microvolt = <1800000>;
				regulator-max-microvolt = <1800000>;
				regulator-name = "pldo6_s3";

				regulator-state-mem {
					regulator-on-in-suspend;
					regulator-suspend-microvolt = <1800000>;
				};
			};

			vdd_0v75_s3: nldo-reg1 {
				regulator-always-on;
				regulator-boot-on;
				regulator-min-microvolt = <750000>;
				regulator-max-microvolt = <750000>;
				regulator-name = "vdd_0v75_s3";

				regulator-state-mem {
					regulator-on-in-suspend;
					regulator-suspend-microvolt = <750000>;
				};
			};

			vdd_ddr_pll_s0: nldo-reg2 {
				regulator-always-on;
				regulator-boot-on;
				regulator-min-microvolt = <850000>;
				regulator-max-microvolt = <850000>;
				regulator-name = "vdd_ddr_pll_s0";

				regulator-state-mem {
					regulator-off-in-suspend;
					regulator-suspend-microvolt = <850000>;
				};
			};

			avdd_0v75_s0: nldo-reg3 {
				regulator-always-on;
				regulator-boot-on;
				regulator-min-microvolt = <750000>;
				regulator-max-microvolt = <750000>;
				regulator-name = "avdd_0v75_s0";

				regulator-state-mem {
					regulator-off-in-suspend;
				};
			};

			vdd_0v85_s0: nldo-reg4 {
				regulator-always-on;
				regulator-boot-on;
				regulator-min-microvolt = <850000>;
				regulator-max-microvolt = <850000>;
				regulator-name = "vdd_0v85_s0";

				regulator-state-mem {
					regulator-off-in-suspend;
				};
			};

			vdd_0v75_s0: nldo-reg5 {
				regulator-always-on;
				regulator-boot-on;
				regulator-min-microvolt = <750000>;
				regulator-max-microvolt = <750000>;
				regulator-name = "vdd_0v75_s0";

				regulator-state-mem {
					regulator-off-in-suspend;
				};
			};
		};
	};
};

&package_thermal {
	polling-delay = <1000>;

	trips {
		package_fan0: package-fan0 {
			temperature = <60000>;
			hysteresis = <2000>;
			type = "active";
		};
	};

	cooling-maps {
		map0 {
			trip = <&package_fan0>;
			cooling-device = <&gpio_fan THERMAL_NO_LIMIT 1>;
		};
	};
};

&saradc {
	vref-supply = <&avcc_1v8_s0>;
	status = "okay";
};

&tsadc {
	status = "okay";
};

/* uart2 left free for the application (no longer the OS console) */
&uart2 {
	pinctrl-names = "default";
	pinctrl-0 = <&uart2m0_xfer>;
	status = "okay";
};

&uart0 {
	pinctrl-names = "default";
	pinctrl-0 = <&uart0m0_xfer>;
	status = "okay";
};

&uart6 {
	pinctrl-names = "default";
	pinctrl-0 = <&uart6m0_xfer>;
	status = "okay";
};

&uart7 {
	pinctrl-names = "default";
	pinctrl-0 = <&uart7m1_xfer>;
	status = "okay";
};

&uart8 {
	pinctrl-names = "default";
	pinctrl-0 = <&uart8m0_xfer>;
	status = "okay";
};

/* uart9: BT bus of the ap6275p module (BCM4362A2). Ported from the vendor
 * rp-wifi-bt-pcie-ap6275p.dtsi (bluetooth-platdata) to mainline hci_bcm
 * bindings, following rk3588-armsom-sige7 (same AP6275P + hym8563). GPIOs
 * match the vendor: reset/BT_REG_ON = gpio0 PA0, wake/BT_WAKE = gpio2 PB3,
 * host-wakeup/HOST_WAKE = gpio2 PB0.
 *
 * compatible: mainline hci_bcm has NO of_match entry for the BCM4362A2 —
 * "brcm,bcm4362a2" (used before this change) never probed the driver. Use
 * "brcm,bcm43438-bt", the same approach as armsom-sige7 for the SAME chip:
 * the driver treats every Broadcom UART chip the same way (H4 + set_baud +
 * firmware load) and loads BCM4362A2.hcd via request_firmware.
 *
 * 32.768 kHz LPO clock from the hym8563 RTC: hci_bcm gets it through
 * devm_clk_get_optional(dev, "lpo") (brcm,bluetooth.yaml). Without it the
 * BCM4362A2 firmware does not start (same dependency as brcmfmac on WiFi).
 *
 * host-wakeup: declared as a dedicated interrupt (interrupts +
 * interrupt-names = "host-wakeup"), instead of the deprecated
 * "host-wakeup-gpios" in the binding (brcm,bluetooth.yaml); same pattern as
 * armsom-sige7.
 *
 * RTS/CTS: muxed as the UART function (func 10), NOT as GPIO. Mainline
 * hci_bcm drives flow control through the 8250 MCR
 * (hci_uart_set_flow_control in bcm_suspend/resume_device), instead of the
 * vendor platdata "RTS-gpio switching" (pinctrl toggle between default and
 * rts_gpio). The uart9m0_ctsn/uart9m0_rtsn groups do NOT exist in mainline
 * rk3588-base-pinctrl.dtsi (only the m1/m2 variants), so they are defined in
 * this board's &pinctrl. */
&uart9 {
	pinctrl-names = "default";
	pinctrl-0 = <&uart9m0_xfer &uart9m0_ctsn &uart9m0_rtsn>;
	status = "okay";

	bluetooth {
		compatible = "brcm,bcm43438-bt";
		clocks = <&hym8563>;
		clock-names = "lpo";
		interrupt-parent = <&gpio2>;
		interrupts = <RK_PB0 IRQ_TYPE_LEVEL_HIGH>;
		interrupt-names = "host-wakeup";
		shutdown-gpios = <&gpio0 RK_PA0 GPIO_ACTIVE_HIGH>;
		device-wakeup-gpios = <&gpio2 RK_PB3 GPIO_ACTIVE_HIGH>;
		max-speed = <1500000>;
		pinctrl-names = "default";
		pinctrl-0 = <&bt_reset &bt_wake &bt_wake_host_irq>;
		vbat-supply = <&vcc_3v3_s3>;
		vddio-supply = <&vcc_1v8_s3>;
	};
};

/* spi0 M3: two MCP2515 controllers on one bus.
 * CLK GPIO3_D3, MISO GPIO3_D1, MOSI GPIO3_D2 (spi0m3_pins).
 * CS0 GPIO3_D4 and CS1 GPIO3_C7 are both GPIO, active-low.
 *
 * The controller chip select and a GPIO chip select cannot be used
 * together. spi-rockchip sets SER bit 0 on every transfer whose chip
 * select is a GPIO, because the controller only clocks SCLK while an
 * SER bit is set. If that pin stays muxed as the native CS function,
 * the bit selects the native-CS slave at the same time as the GPIO-CS
 * slave and both drive MISO. GPIO3_D4 is muxed as GPIO, so SER bit 0
 * is not wired to a pin.
 *
 * GPIO3_D5 is spi0_cs1_m3 in the SoC pinctrl and is the NFC TX line,
 * so spi0m3_cs1 stays out of pinctrl. Native CS1 is not a substitute.
 * GPIO4_B2 is the NFC RX line. spican0 CS is GPIO3_C7 and spican1 CS is
 * GPIO3_D4; spican0 INT is GPIO3_C4 and spican1 INT is GPIO3_C5. Both
 * INTs stay GPIO, open-drain, active-low, and are not muxed as can2m0
 * or uart5m1. Each module has its own 16 MHz crystal, so spican1 does
 * not depend on spican0 CLKOUT.
 * can-link.sh brings spican1 up at 1 Mbit/s and spican0 at 500 kbit/s. */
&spi0 {
	pinctrl-names = "default";
	pinctrl-0 = <&spi0m3_pins &spi0_cs_gpios &spican_int_pins>;
	cs-gpios = <&gpio3 RK_PC7 GPIO_ACTIVE_LOW>,
		   <&gpio3 RK_PD4 GPIO_ACTIVE_LOW>;
	num-cs = <2>;
	status = "okay";

	spican0: can@0 {
		compatible = "microchip,mcp2515";
		reg = <0>;
		spi-max-frequency = <10000000>;
		clocks = <&spican_osc>;
		vdd-supply = <&spican0_en>;
		interrupt-parent = <&gpio3>;
		interrupts = <RK_PC4 IRQ_TYPE_LEVEL_LOW>;
	};

	spican1: can@1 {
		compatible = "microchip,mcp2515";
		reg = <1>;
		spi-max-frequency = <10000000>;
		clocks = <&spican_osc>;
		vdd-supply = <&spican1_en>;
		interrupt-parent = <&gpio3>;
		interrupts = <RK_PC5 IRQ_TYPE_LEVEL_LOW>;
	};
};

&sdhci {
	bus-width = <8>;
	no-sdio;
	no-sd;
	non-removable;
	mmc-hs400-1_8v;
	mmc-hs400-enhanced-strobe;
	status = "okay";
};

&sdmmc {
	bus-width = <4>;
	cap-mmc-highspeed;
	cap-sd-highspeed;
	disable-wp;
	no-sdio;
	no-mmc;
	sd-uhs-sdr104;
	vmmc-supply = <&vcc_3v3_s3>;
	vqmmc-supply = <&vccio_sd_s0>;
	status = "okay";
};

/* USB (based on rk3588-rock-5b; RD-BOX: 1x OTG type-A + 2x USB2 host + 1x USB3 host) */
&u2phy0 {
	status = "okay";
};

&u2phy0_otg {
	status = "okay";
};

&u2phy1 {
	status = "okay";
};

&u2phy1_otg {
	status = "okay";
};

&u2phy2 {
	status = "okay";
};

&u2phy2_host {
	phy-supply = <&vcc5v0_host>;
	status = "okay";
};

&u2phy3 {
	status = "okay";
};

&u2phy3_host {
	phy-supply = <&vcc5v0_host>;
	status = "okay";
};

&usbdp_phy0 {
	status = "okay";
};

&usbdp_phy1 {
	status = "okay";
};

&usb_host0_ehci {
	status = "okay";
};

&usb_host0_ohci {
	status = "okay";
};

&usb_host1_ehci {
	status = "okay";
};

&usb_host1_ohci {
	status = "okay";
};

&usb_host0_xhci {
	dr_mode = "host";
	snps,parkmode-disable-hs-quirk;
	snps,parkmode-disable-ss-quirk;
	status = "okay";
};

&usb_host1_xhci {
	dr_mode = "host";
	snps,parkmode-disable-hs-quirk;
	snps,parkmode-disable-ss-quirk;
	status = "okay";
};

&pinctrl {
	/* The eth1_pins group (eth1_refclko_25m, gpio3 PA6) is already defined by
	 * rk3588-base-pinctrl.dtsi; just reference it from &gmac1 pinctrl-0. */

	/* uart9 RTS/CTS in m0 mode (gpio4 PC4 = RTS, gpio4 PC5 = CTS). These
	 * groups do NOT exist in mainline rk3588-base-pinctrl.dtsi (only m1/m2),
	 * so they are defined here with the vendor pinctrl mapping
	 * (rk3588-vccio3-pinctrl.dtsi). Pinconf is pcfg_pull_none, as in the vendor. */
	uart9 {
		uart9m0_ctsn: uart9m0-ctsn {
			rockchip,pins = <4 RK_PC5 10 &pcfg_pull_none>;
		};

		uart9m0_rtsn: uart9m0-rtsn {
			rockchip,pins = <4 RK_PC4 10 &pcfg_pull_none>;
		};
	};

	/* ap6275p BT GPIOs (pinconf from the vendor rp-wifi-bt-pcie-ap6275p.dtsi,
	 * bt_gpio group). */
	wireless-bluetooth {
		bt_reset: bt-reset {
			rockchip,pins = <0 RK_PA0 RK_FUNC_GPIO &pcfg_pull_none>;
		};

		bt_wake: bt-wake {
			rockchip,pins = <2 RK_PB3 RK_FUNC_GPIO &pcfg_pull_up>;
		};

		bt_wake_host_irq: bt-wake-host-irq {
			rockchip,pins = <2 RK_PB0 RK_FUNC_GPIO &pcfg_pull_down>;
		};
	};

	leds {
		led_sys: led-sys {
			rockchip,pins = <4 RK_PA6 RK_FUNC_GPIO &pcfg_pull_none>;
		};
	};

	fan {
		fan_en: fan-en {
			rockchip,pins = <4 RK_PA7 RK_FUNC_GPIO &pcfg_pull_none>;
		};
	};

	wdt {
		wdt_feed: wdt-feed {
			rockchip,pins = <1 RK_PB2 RK_FUNC_GPIO &pcfg_pull_none>;
		};
	};

	wifi {
		wifi_poweren: wifi-poweren {
			rockchip,pins = <0 RK_PB2 RK_FUNC_GPIO &pcfg_pull_up>;
		};
	};

	m2 {
		m2_poweren: m2-poweren {
			rockchip,pins = <4 RK_PA5 RK_FUNC_GPIO &pcfg_pull_none>;
		};
	};

	usb-power {
		host5v_en: host5v-en {
			rockchip,pins = <2 RK_PC1 RK_FUNC_GPIO &pcfg_pull_none>;
		};

		otg5v_en: otg5v-en {
			rockchip,pins = <1 RK_PA2 RK_FUNC_GPIO &pcfg_pull_none>;
		};

		modem4g_en: modem4g-en {
			rockchip,pins = <4 RK_PA4 RK_FUNC_GPIO &pcfg_pull_none>;
		};
	};

	/* PCA9554 INT on GPIO0_D3. Open-drain, so the SoC pulls it up. */
	io-expander {
		io_exp_int: io-exp-int {
			rockchip,pins = <0 RK_PD3 RK_FUNC_GPIO &pcfg_pull_up>;
		};
	};

	/* CS pins stay GPIO. Native SPI CS and GPIO CS cannot share this bus. */
	spi0_custom_cs {
		spi0_cs_gpios: spi0-cs-gpios {
			rockchip,pins =
				<3 RK_PD4 RK_FUNC_GPIO &pcfg_pull_up>,
				<3 RK_PC7 RK_FUNC_GPIO &pcfg_pull_up>;
		};

		spican_int_pins: spican-int-pins {
			rockchip,pins =
				<3 RK_PC4 RK_FUNC_GPIO &pcfg_pull_up>,
				<3 RK_PC5 RK_FUNC_GPIO &pcfg_pull_up>;
		};
	};

	/* NFC on J428. GPIO3_D5 is TX, GPIO4_B2 is RX. Not a UART pair.
	 * Pull-ups hold both idle-high until the nfc task requests them. */
	nfc {
		nfc_pins: nfc-pins {
			rockchip,pins =
				<3 RK_PD5 RK_FUNC_GPIO &pcfg_pull_up>,
				<4 RK_PB2 RK_FUNC_GPIO &pcfg_pull_up>;
		};
	};
};

/* Applies the NFC pinmux only. The nfc task owns both lines. */
/ {
	nfc_pinmux: regulator-nfc-pinmux {
		compatible = "regulator-fixed";
		regulator-name = "nfc-pinmux";
		regulator-always-on;
		regulator-boot-on;
		regulator-min-microvolt = <3300000>;
		regulator-max-microvolt = <3300000>;
		pinctrl-names = "default";
		pinctrl-0 = <&nfc_pins>;
	};
};

/* rp_power: usb-hub-reset gpio3 PB2 -> deasserted high at boot.
 * GPIO3_D5 (line 29) is the NFC TX line. */
&gpio3 {
	gpio-line-names = "", "", "", "", "", "", "", "",
			  "", "", "usb-hub-reset", "", "", "", "", "",
			  "", "", "", "", "", "", "", "",
			  "", "", "", "", "", "nfc-tx";

	usb-hub-reset-hog {
		gpio-hog;
		gpios = <RK_PB2 GPIO_ACTIVE_HIGH>;
		output-high;
		line-name = "usb-hub-reset";
	};
};

/* GPIO4_B2 (line 10) is the NFC RX line. */
&gpio4 {
	gpio-line-names = "", "", "", "", "", "", "", "",
			  "", "", "nfc-rx";
};
